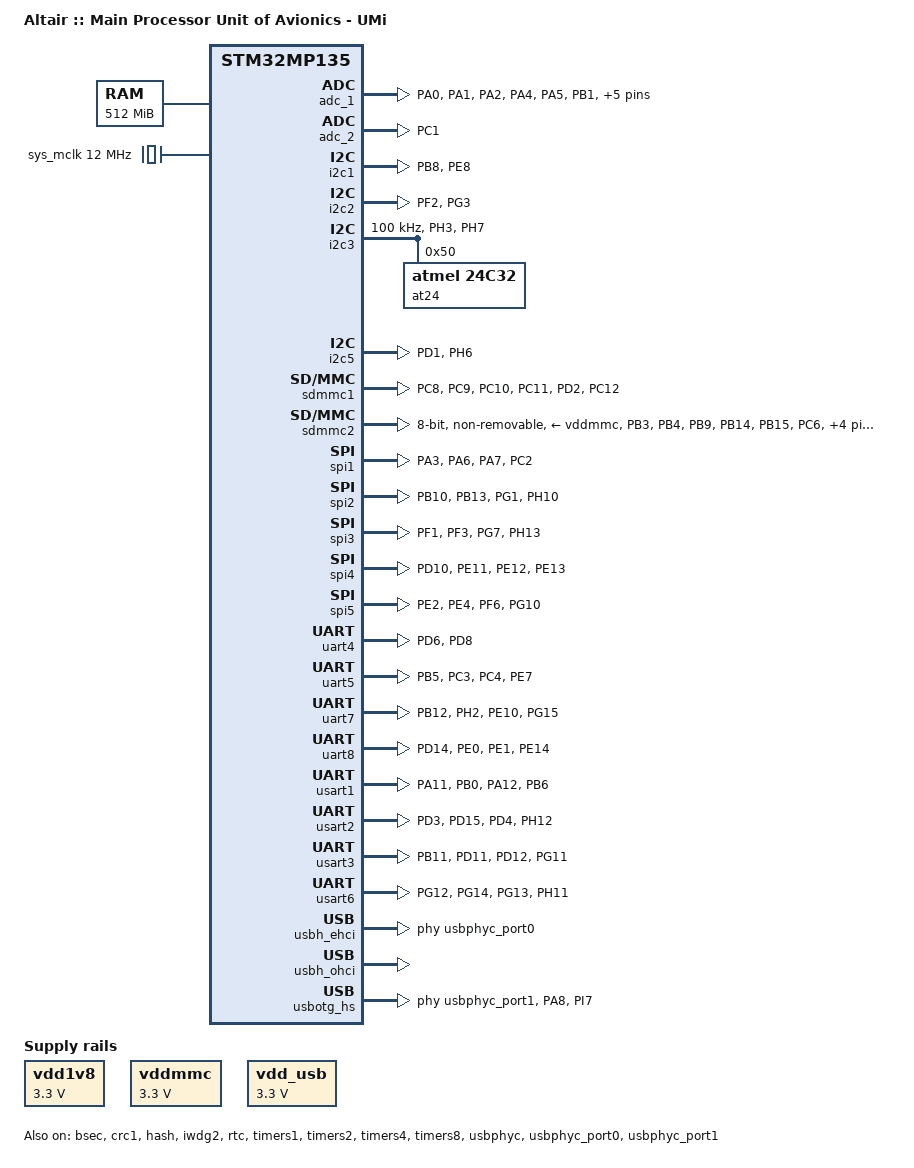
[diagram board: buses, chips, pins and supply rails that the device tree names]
// SPDX-License-Identifier: (GPL-2.0-or-later OR BSD-3-Clause)
/*
 * Copyright (C) 2024, STMicroelectronics - All Rights Reserved
 * Author: STM32CubeMX code generation for STMicroelectronics.
 */

/* For more information on Device Tree configuration, please refer to
 * https://wiki.st.com/stm32mpu/wiki/Category:Device_tree_configuration
 */

/dts-v1/;
#include <dt-bindings/pinctrl/stm32-pinfunc.h>

#include "stm32mp135.dtsi"
#include "stm32mp13xd.dtsi"

/* USER CODE BEGIN includes */
/* USER CODE END includes */

/ {
	model = "Altair :: Main Processor Unit of Avionics - UMi";
	compatible = "st,stm32mp135d-altair-mx", "st,stm32mp135";

	memory@c0000000 {
		device_type = "memory";
		reg = <0xc0000000 0x20000000>;

		/* USER CODE BEGIN memory */
		/* USER CODE END memory */
	};

	reserved-memory {
		#address-cells = <1>;
		#size-cells = <1>;
		ranges;

		/* USER CODE BEGIN reserved-memory */
		optee_framebuffer@dd000000 {
			reg = <0xdd000000 0x1000000>;
			no-map;
		};

		optee@de000000 {
			reg = <0xde000000 0x2000000>;
			no-map;
		};
		/* USER CODE END reserved-memory */
	};

	/* USER CODE BEGIN root */
	aliases {
		serial0 = &uart4;
		serial1 = &uart5;
		serial2 = &uart7;
		serial3 = &uart8;
		serial4 = &usart1;
		serial5 = &usart2;
		serial6 = &usart3;
		ethernet0 = &eth1;
	};

	chosen {
		#address-cells = <1>;
		#size-cells = <1>;
		ranges;
		stdout-path = "serial0:115200n8";
	};

	vdd1v8: vdd1v8 {
		compatible = "regulator-fixed";
		regulator-name = "vdd1v8";
		regulator-min-microvolt = <3300000>;
		regulator-max-microvolt = <3300000>;
	};

	vddmmc: fixedregulator@0 {
		compatible = "regulator-fixed";
		regulator-name = "vddmmc";
		regulator-min-microvolt = <3300000>;
		regulator-max-microvolt = <3300000>;
	};

	vdd_usb: vdd_usb {
		compatible = "regulator-fixed";
		regulator-name = "vdd_usb";
		regulator-min-microvolt = <3300000>;
		regulator-max-microvolt = <3300000>;
		regulator-always-on;
	};

	sys_mclk: clock-mclk {
		compatible = "fixed-clock";
		#clock-cells = <0>;
		clock-frequency = <12000000>;
	};
	/* USER CODE END root */

	clocks{

		/* USER CODE BEGIN clocks */
		/* USER CODE END clocks */
	};

}; /*root*/

&pinctrl {

	adc1_pins_mx: adc1_mx-0 {
		pins {
			pinmux = <STM32_PINMUX('A', 0, ANALOG)>, /* ADC1_INP7 */
					 <STM32_PINMUX('A', 1, ANALOG)>, /* ADC1_INP3 */
					 <STM32_PINMUX('A', 2, ANALOG)>, /* ADC1_INP1 */
					 <STM32_PINMUX('A', 4, ANALOG)>, /* ADC1_INP14 */
					 <STM32_PINMUX('A', 5, ANALOG)>, /* ADC1_INP2 */
					 <STM32_PINMUX('B', 1, ANALOG)>, /* ADC1_INP5 */
					 <STM32_PINMUX('C', 0, ANALOG)>, /* ADC1_INP0 */
					 <STM32_PINMUX('C', 5, ANALOG)>, /* ADC1_INP10 */
					 <STM32_PINMUX('F', 11, ANALOG)>, /* ADC1_INP8 */
					 <STM32_PINMUX('F', 12, ANALOG)>, /* ADC1_INP6 */
					 <STM32_PINMUX('F', 13, ANALOG)>; /* ADC1_INP11 */
		};
	};

	adc1_sleep_pins_mx: adc1_sleep_mx-0 {
		pins {
			pinmux = <STM32_PINMUX('A', 0, ANALOG)>, /* ADC1_INP7 */
					 <STM32_PINMUX('A', 1, ANALOG)>, /* ADC1_INP3 */
					 <STM32_PINMUX('A', 2, ANALOG)>, /* ADC1_INP1 */
					 <STM32_PINMUX('A', 4, ANALOG)>, /* ADC1_INP14 */
					 <STM32_PINMUX('A', 5, ANALOG)>, /* ADC1_INP2 */
					 <STM32_PINMUX('B', 1, ANALOG)>, /* ADC1_INP5 */
					 <STM32_PINMUX('C', 0, ANALOG)>, /* ADC1_INP0 */
					 <STM32_PINMUX('C', 5, ANALOG)>, /* ADC1_INP10 */
					 <STM32_PINMUX('F', 11, ANALOG)>, /* ADC1_INP8 */
					 <STM32_PINMUX('F', 12, ANALOG)>, /* ADC1_INP6 */
					 <STM32_PINMUX('F', 13, ANALOG)>; /* ADC1_INP11 */
		};
	};

	adc2_pins_mx: adc2_mx-0 {
		pins {
			pinmux = <STM32_PINMUX('C', 1, ANALOG)>; /* ADC2_INP2 */
		};
	};

	adc2_sleep_pins_mx: adc2_sleep_mx-0 {
		pins {
			pinmux = <STM32_PINMUX('C', 1, ANALOG)>; /* ADC2_INP2 */
		};
	};

	i2c1_pins_mx: i2c1_mx-0 {
		pins {
			pinmux = <STM32_PINMUX('B', 8, AF4)>, /* I2C1_SCL */
					 <STM32_PINMUX('E', 8, AF5)>; /* I2C1_SDA */
			bias-pull-up;
			drive-open-drain;
			slew-rate = <0>;
		};
	};

	i2c1_sleep_pins_mx: i2c1_sleep_mx-0 {
		pins {
			pinmux = <STM32_PINMUX('B', 8, ANALOG)>, /* I2C1_SCL */
					 <STM32_PINMUX('E', 8, ANALOG)>; /* I2C1_SDA */
		};
	};

	i2c2_pins_mx: i2c2_mx-0 {
		pins {
			pinmux = <STM32_PINMUX('F', 2, AF4)>, /* I2C2_SCL */
					 <STM32_PINMUX('G', 3, AF4)>; /* I2C2_SDA */
			bias-pull-up;
			drive-open-drain;
			slew-rate = <0>;
		};
	};

	i2c2_sleep_pins_mx: i2c2_sleep_mx-0 {
		pins {
			pinmux = <STM32_PINMUX('F', 2, ANALOG)>, /* I2C2_SCL */
					 <STM32_PINMUX('G', 3, ANALOG)>; /* I2C2_SDA */
		};
	};

	i2c3_pins_mx: i2c3_mx-0 {
		pins {
			pinmux = <STM32_PINMUX('H', 3, AF4)>, /* I2C3_SCL */
					 <STM32_PINMUX('H', 7, AF5)>; /* I2C3_SDA */
			bias-pull-up;
			drive-open-drain;
			slew-rate = <0>;
		};
	};

	i2c3_sleep_pins_mx: i2c3_sleep_mx-0 {
		pins {
			pinmux = <STM32_PINMUX('H', 3, ANALOG)>, /* I2C3_SCL */
					 <STM32_PINMUX('H', 7, ANALOG)>; /* I2C3_SDA */
		};
	};

	i2c5_pins_mx: i2c5_mx-0 {
		pins {
			pinmux = <STM32_PINMUX('D', 1, AF4)>, /* I2C5_SCL */
					 <STM32_PINMUX('H', 6, AF4)>; /* I2C5_SDA */
			bias-pull-up;
			drive-open-drain;
			slew-rate = <0>;
		};
	};

	i2c5_sleep_pins_mx: i2c5_sleep_mx-0 {
		pins {
			pinmux = <STM32_PINMUX('D', 1, ANALOG)>, /* I2C5_SCL */
					 <STM32_PINMUX('H', 6, ANALOG)>; /* I2C5_SDA */
		};
	};

	sdmmc1_pins_mx: sdmmc1_mx-0 {
		pins1 {
			pinmux = <STM32_PINMUX('C', 8, AF12)>, /* SDMMC1_D0 */
					 <STM32_PINMUX('C', 9, AF12)>, /* SDMMC1_D1 */
					 <STM32_PINMUX('C', 10, AF12)>, /* SDMMC1_D2 */
					 <STM32_PINMUX('C', 11, AF12)>, /* SDMMC1_D3 */
					 <STM32_PINMUX('D', 2, AF12)>; /* SDMMC1_CMD */
			bias-disable;
			drive-push-pull;
			slew-rate = <1>;
		};
		pins2 {
			pinmux = <STM32_PINMUX('C', 12, AF12)>; /* SDMMC1_CK */
			bias-disable;
			drive-push-pull;
			slew-rate = <3>;
		};
	};

	sdmmc1_opendrain_pins_mx: sdmmc1_opendrain_mx-0 {
		pins1 {
			pinmux = <STM32_PINMUX('C', 8, AF12)>, /* SDMMC1_D0 */
					 <STM32_PINMUX('C', 9, AF12)>, /* SDMMC1_D1 */
					 <STM32_PINMUX('C', 10, AF12)>, /* SDMMC1_D2 */
					 <STM32_PINMUX('C', 11, AF12)>; /* SDMMC1_D3 */
			bias-disable;
			drive-push-pull;
			slew-rate = <1>;
		};
		pins2 {
			pinmux = <STM32_PINMUX('C', 12, AF12)>; /* SDMMC1_CK */
			bias-disable;
			drive-push-pull;
			slew-rate = <3>;
		};
		pins3 {
			pinmux = <STM32_PINMUX('D', 2, AF12)>; /* SDMMC1_CMD */
			bias-disable;
			drive-open-drain;
			slew-rate = <1>;
		};
	};

	sdmmc1_sleep_pins_mx: sdmmc1_sleep_mx-0 {
		pins {
			pinmux = <STM32_PINMUX('C', 8, ANALOG)>, /* SDMMC1_D0 */
					 <STM32_PINMUX('C', 9, ANALOG)>, /* SDMMC1_D1 */
					 <STM32_PINMUX('C', 10, ANALOG)>, /* SDMMC1_D2 */
					 <STM32_PINMUX('C', 11, ANALOG)>, /* SDMMC1_D3 */
					 <STM32_PINMUX('C', 12, ANALOG)>, /* SDMMC1_CK */
					 <STM32_PINMUX('D', 2, ANALOG)>; /* SDMMC1_CMD */
		};
	};

	sdmmc2_pins_mx: sdmmc2_mx-0 {
		pins1 {
			pinmux = <STM32_PINMUX('B', 3, AF10)>, /* SDMMC2_D2 */
					 <STM32_PINMUX('B', 4, AF10)>, /* SDMMC2_D3 */
					 <STM32_PINMUX('B', 9, AF10)>, /* SDMMC2_D5 */
					 <STM32_PINMUX('B', 14, AF10)>, /* SDMMC2_D0 */
					 <STM32_PINMUX('B', 15, AF10)>, /* SDMMC2_D1 */
					 <STM32_PINMUX('C', 6, AF10)>, /* SDMMC2_D6 */
					 <STM32_PINMUX('C', 7, AF10)>, /* SDMMC2_D7 */
					 <STM32_PINMUX('F', 0, AF10)>, /* SDMMC2_D4 */
					 <STM32_PINMUX('G', 6, AF10)>; /* SDMMC2_CMD */
			bias-pull-up;
			drive-push-pull;
			slew-rate = <1>;
		};
		pins2 {
			pinmux = <STM32_PINMUX('E', 3, AF10)>; /* SDMMC2_CK */
			bias-pull-up;
			drive-push-pull;
			slew-rate = <3>;
		};
	};

	sdmmc2_opendrain_pins_mx: sdmmc2_opendrain_mx-0 {
		pins1 {
			pinmux = <STM32_PINMUX('B', 3, AF10)>, /* SDMMC2_D2 */
					 <STM32_PINMUX('B', 4, AF10)>, /* SDMMC2_D3 */
					 <STM32_PINMUX('B', 9, AF10)>, /* SDMMC2_D5 */
					 <STM32_PINMUX('B', 14, AF10)>, /* SDMMC2_D0 */
					 <STM32_PINMUX('B', 15, AF10)>, /* SDMMC2_D1 */
					 <STM32_PINMUX('C', 6, AF10)>, /* SDMMC2_D6 */
					 <STM32_PINMUX('C', 7, AF10)>, /* SDMMC2_D7 */
					 <STM32_PINMUX('F', 0, AF10)>; /* SDMMC2_D4 */
			bias-pull-up;
			drive-push-pull;
			slew-rate = <1>;
		};
		pins2 {
			pinmux = <STM32_PINMUX('E', 3, AF10)>; /* SDMMC2_CK */
			bias-pull-up;
			drive-push-pull;
			slew-rate = <3>;
		};
		pins3 {
			pinmux = <STM32_PINMUX('G', 6, AF10)>; /* SDMMC2_CMD */
			bias-pull-up;
			drive-open-drain;
			slew-rate = <1>;
		};
	};

	sdmmc2_sleep_pins_mx: sdmmc2_sleep_mx-0 {
		pins {
			pinmux = <STM32_PINMUX('B', 3, ANALOG)>, /* SDMMC2_D2 */
					 <STM32_PINMUX('B', 4, ANALOG)>, /* SDMMC2_D3 */
					 <STM32_PINMUX('B', 9, ANALOG)>, /* SDMMC2_D5 */
					 <STM32_PINMUX('B', 14, ANALOG)>, /* SDMMC2_D0 */
					 <STM32_PINMUX('B', 15, ANALOG)>, /* SDMMC2_D1 */
					 <STM32_PINMUX('C', 6, ANALOG)>, /* SDMMC2_D6 */
					 <STM32_PINMUX('C', 7, ANALOG)>, /* SDMMC2_D7 */
					 <STM32_PINMUX('E', 3, ANALOG)>, /* SDMMC2_CK */
					 <STM32_PINMUX('F', 0, ANALOG)>, /* SDMMC2_D4 */
					 <STM32_PINMUX('G', 6, ANALOG)>; /* SDMMC2_CMD */
		};
	};

	spi1_pins_mx: spi1_mx-0 {
		pins {
			pinmux = <STM32_PINMUX('A', 3, AF5)>, /* SPI1_MOSI */
					 <STM32_PINMUX('A', 6, AF5)>, /* SPI1_MISO */
					 <STM32_PINMUX('A', 7, AF5)>, /* SPI1_SCK */
					 <STM32_PINMUX('C', 2, AF5)>; /* SPI1_NSS */
			bias-disable;
			drive-push-pull;
			slew-rate = <1>;
		};
	};

	spi1_sleep_pins_mx: spi1_sleep_mx-0 {
		pins {
			pinmux = <STM32_PINMUX('A', 3, ANALOG)>, /* SPI1_MOSI */
					 <STM32_PINMUX('A', 6, ANALOG)>, /* SPI1_MISO */
					 <STM32_PINMUX('A', 7, ANALOG)>, /* SPI1_SCK */
					 <STM32_PINMUX('C', 2, ANALOG)>; /* SPI1_NSS */
		};
	};

	spi2_pins_mx: spi2_mx-0 {
		pins {
			pinmux = <STM32_PINMUX('B', 10, AF6)>, /* SPI2_SCK */
					 <STM32_PINMUX('B', 13, AF5)>, /* SPI2_NSS */
					 <STM32_PINMUX('G', 1, AF5)>, /* SPI2_MISO */
					 <STM32_PINMUX('H', 10, AF6)>; /* SPI2_MOSI */
			bias-disable;
			drive-push-pull;
			slew-rate = <1>;
		};
	};

	spi2_sleep_pins_mx: spi2_sleep_mx-0 {
		pins {
			pinmux = <STM32_PINMUX('B', 10, ANALOG)>, /* SPI2_SCK */
					 <STM32_PINMUX('B', 13, ANALOG)>, /* SPI2_NSS */
					 <STM32_PINMUX('G', 1, ANALOG)>, /* SPI2_MISO */
					 <STM32_PINMUX('H', 10, ANALOG)>; /* SPI2_MOSI */
		};
	};

	spi3_pins_mx: spi3_mx-0 {
		pins {
			pinmux = <STM32_PINMUX('F', 1, AF5)>, /* SPI3_MOSI */
					 <STM32_PINMUX('F', 3, AF6)>, /* SPI3_NSS */
					 <STM32_PINMUX('G', 7, AF5)>, /* SPI3_MISO */
					 <STM32_PINMUX('H', 13, AF6)>; /* SPI3_SCK */
			bias-disable;
			drive-push-pull;
			slew-rate = <1>;
		};
	};

	spi3_sleep_pins_mx: spi3_sleep_mx-0 {
		pins {
			pinmux = <STM32_PINMUX('F', 1, ANALOG)>, /* SPI3_MOSI */
					 <STM32_PINMUX('F', 3, ANALOG)>, /* SPI3_NSS */
					 <STM32_PINMUX('G', 7, ANALOG)>, /* SPI3_MISO */
					 <STM32_PINMUX('H', 13, ANALOG)>; /* SPI3_SCK */
		};
	};

	spi4_pins_mx: spi4_mx-0 {
		pins {
			pinmux = <STM32_PINMUX('D', 10, AF5)>, /* SPI4_NSS */
					 <STM32_PINMUX('E', 11, AF5)>, /* SPI4_MOSI */
					 <STM32_PINMUX('E', 12, AF5)>, /* SPI4_SCK */
					 <STM32_PINMUX('E', 13, AF5)>; /* SPI4_MISO */
			bias-disable;
			drive-push-pull;
			slew-rate = <1>;
		};
	};

	spi4_sleep_pins_mx: spi4_sleep_mx-0 {
		pins {
			pinmux = <STM32_PINMUX('D', 10, ANALOG)>, /* SPI4_NSS */
					 <STM32_PINMUX('E', 11, ANALOG)>, /* SPI4_MOSI */
					 <STM32_PINMUX('E', 12, ANALOG)>, /* SPI4_SCK */
					 <STM32_PINMUX('E', 13, ANALOG)>; /* SPI4_MISO */
		};
	};

	spi5_pins_mx: spi5_mx-0 {
		pins {
			pinmux = <STM32_PINMUX('E', 2, AF5)>, /* SPI5_MOSI */
					 <STM32_PINMUX('E', 4, AF1)>, /* SPI5_MISO */
					 <STM32_PINMUX('F', 6, AF5)>, /* SPI5_NSS */
					 <STM32_PINMUX('G', 10, AF5)>; /* SPI5_SCK */
			bias-disable;
			drive-push-pull;
			slew-rate = <1>;
		};
	};

	spi5_sleep_pins_mx: spi5_sleep_mx-0 {
		pins {
			pinmux = <STM32_PINMUX('E', 2, ANALOG)>, /* SPI5_MOSI */
					 <STM32_PINMUX('E', 4, ANALOG)>, /* SPI5_MISO */
					 <STM32_PINMUX('F', 6, ANALOG)>, /* SPI5_NSS */
					 <STM32_PINMUX('G', 10, ANALOG)>; /* SPI5_SCK */
		};
	};

	tim1_pins_mx: tim1_mx-0 {
		pins {
			pinmux = <STM32_PINMUX('A', 9, AF1)>, /* TIM1_CH2 */
					 <STM32_PINMUX('E', 9, AF1)>; /* TIM1_CH1 */
			bias-disable;
			drive-push-pull;
			slew-rate = <0>;
		};
	};

	tim1_sleep_pins_mx: tim1_sleep_mx-0 {
		pins {
			pinmux = <STM32_PINMUX('A', 9, ANALOG)>, /* TIM1_CH2 */
					 <STM32_PINMUX('E', 9, ANALOG)>; /* TIM1_CH1 */
		};
	};

	tim2_pins_mx: tim2_mx-0 {
		pins {
			pinmux = <STM32_PINMUX('E', 15, AF1)>; /* TIM2_CH1 */
			bias-disable;
			drive-push-pull;
			slew-rate = <0>;
		};
	};

	tim2_sleep_pins_mx: tim2_sleep_mx-0 {
		pins {
			pinmux = <STM32_PINMUX('E', 15, ANALOG)>; /* TIM2_CH1 */
		};
	};

	tim4_pins_mx: tim4_mx-0 {
		pins {
			pinmux = <STM32_PINMUX('B', 7, AF2)>; /* TIM4_CH2 */
			bias-disable;
			drive-push-pull;
			slew-rate = <0>;
		};
	};

	tim4_sleep_pins_mx: tim4_sleep_mx-0 {
		pins {
			pinmux = <STM32_PINMUX('B', 7, ANALOG)>; /* TIM4_CH2 */
		};
	};

	tim8_pins_mx: tim8_mx-0 {
		pins {
			pinmux = <STM32_PINMUX('E', 5, AF3)>; /* TIM8_CH3 */
			bias-disable;
			drive-push-pull;
			slew-rate = <0>;
		};
	};

	tim8_sleep_pins_mx: tim8_sleep_mx-0 {
		pins {
			pinmux = <STM32_PINMUX('E', 5, ANALOG)>; /* TIM8_CH3 */
		};
	};

	uart4_pins_mx: uart4_mx-0 {
		pins1 {
			pinmux = <STM32_PINMUX('D', 6, AF8)>; /* UART4_TX */
			bias-disable;
			drive-push-pull;
			slew-rate = <0>;
		};
		pins2 {
			pinmux = <STM32_PINMUX('D', 8, AF8)>; /* UART4_RX */
			bias-disable;
		};
	};

	uart4_sleep_pins_mx: uart4_sleep_mx-0 {
		pins {
			pinmux = <STM32_PINMUX('D', 6, ANALOG)>, /* UART4_TX */
					 <STM32_PINMUX('D', 8, ANALOG)>; /* UART4_RX */
		};
	};

	uart5_pins_mx: uart5_mx-0 {
		pins1 {
			pinmux = <STM32_PINMUX('B', 5, AF11)>, /* UART5_RX */
					 <STM32_PINMUX('C', 3, AF8)>; /* UART5_CTS */
			bias-disable;
		};
		pins2 {
			pinmux = <STM32_PINMUX('C', 4, AF8)>, /* UART5_RTS */
					 <STM32_PINMUX('E', 7, AF8)>; /* UART5_TX */
			bias-disable;
			drive-push-pull;
			slew-rate = <0>;
		};
	};

	uart5_sleep_pins_mx: uart5_sleep_mx-0 {
		pins {
			pinmux = <STM32_PINMUX('B', 5, ANALOG)>, /* UART5_RX */
					 <STM32_PINMUX('C', 3, ANALOG)>, /* UART5_CTS */
					 <STM32_PINMUX('C', 4, ANALOG)>, /* UART5_RTS */
					 <STM32_PINMUX('E', 7, ANALOG)>; /* UART5_TX */
		};
	};

	uart7_pins_mx: uart7_mx-0 {
		pins1 {
			pinmux = <STM32_PINMUX('B', 12, AF7)>, /* UART7_RTS */
					 <STM32_PINMUX('H', 2, AF8)>; /* UART7_TX */
			bias-disable;
			drive-push-pull;
			slew-rate = <0>;
		};
		pins2 {
			pinmux = <STM32_PINMUX('E', 10, AF7)>, /* UART7_RX */
					 <STM32_PINMUX('G', 15, AF8)>; /* UART7_CTS */
			bias-disable;
		};
	};

	uart7_sleep_pins_mx: uart7_sleep_mx-0 {
		pins {
			pinmux = <STM32_PINMUX('B', 12, ANALOG)>, /* UART7_RTS */
					 <STM32_PINMUX('E', 10, ANALOG)>, /* UART7_RX */
					 <STM32_PINMUX('G', 15, ANALOG)>, /* UART7_CTS */
					 <STM32_PINMUX('H', 2, ANALOG)>; /* UART7_TX */
		};
	};

	uart8_pins_mx: uart8_mx-0 {
		pins1 {
			pinmux = <STM32_PINMUX('D', 14, AF8)>, /* UART8_CTS */
					 <STM32_PINMUX('E', 0, AF8)>; /* UART8_RX */
			bias-disable;
		};
		pins2 {
			pinmux = <STM32_PINMUX('E', 1, AF8)>, /* UART8_TX */
					 <STM32_PINMUX('E', 14, AF8)>; /* UART8_RTS */
			bias-disable;
			drive-push-pull;
			slew-rate = <0>;
		};
	};

	uart8_sleep_pins_mx: uart8_sleep_mx-0 {
		pins {
			pinmux = <STM32_PINMUX('D', 14, ANALOG)>, /* UART8_CTS */
					 <STM32_PINMUX('E', 0, ANALOG)>, /* UART8_RX */
					 <STM32_PINMUX('E', 1, ANALOG)>, /* UART8_TX */
					 <STM32_PINMUX('E', 14, ANALOG)>; /* UART8_RTS */
		};
	};

	usart1_pins_mx: usart1_mx-0 {
		pins1 {
			pinmux = <STM32_PINMUX('A', 11, AF7)>, /* USART1_CTS */
					 <STM32_PINMUX('B', 0, AF4)>; /* USART1_RX */
			bias-disable;
		};
		pins2 {
			pinmux = <STM32_PINMUX('A', 12, AF7)>, /* USART1_RTS */
					 <STM32_PINMUX('B', 6, AF4)>; /* USART1_TX */
			bias-disable;
			drive-push-pull;
			slew-rate = <0>;
		};
	};

	usart1_sleep_pins_mx: usart1_sleep_mx-0 {
		pins {
			pinmux = <STM32_PINMUX('A', 11, ANALOG)>, /* USART1_CTS */
					 <STM32_PINMUX('A', 12, ANALOG)>, /* USART1_RTS */
					 <STM32_PINMUX('B', 0, ANALOG)>, /* USART1_RX */
					 <STM32_PINMUX('B', 6, ANALOG)>; /* USART1_TX */
		};
	};

	usart2_pins_mx: usart2_mx-0 {
		pins1 {
			pinmux = <STM32_PINMUX('D', 3, AF3)>, /* USART2_CTS */
					 <STM32_PINMUX('D', 15, AF1)>; /* USART2_RX */
			bias-disable;
		};
		pins2 {
			pinmux = <STM32_PINMUX('D', 4, AF3)>, /* USART2_RTS */
					 <STM32_PINMUX('H', 12, AF1)>; /* USART2_TX */
			bias-disable;
			drive-push-pull;
			slew-rate = <0>;
		};
	};

	usart2_sleep_pins_mx: usart2_sleep_mx-0 {
		pins {
			pinmux = <STM32_PINMUX('D', 3, ANALOG)>, /* USART2_CTS */
					 <STM32_PINMUX('D', 4, ANALOG)>, /* USART2_RTS */
					 <STM32_PINMUX('D', 15, ANALOG)>, /* USART2_RX */
					 <STM32_PINMUX('H', 12, ANALOG)>; /* USART2_TX */
		};
	};

	usart3_pins_mx: usart3_mx-0 {
		pins1 {
			pinmux = <STM32_PINMUX('B', 11, AF7)>, /* USART3_RX */
					 <STM32_PINMUX('D', 11, AF7)>; /* USART3_CTS */
			bias-disable;
		};
		pins2 {
			pinmux = <STM32_PINMUX('D', 12, AF7)>, /* USART3_RTS */
					 <STM32_PINMUX('G', 11, AF7)>; /* USART3_TX */
			bias-disable;
			drive-push-pull;
			slew-rate = <0>;
		};
	};

	usart3_sleep_pins_mx: usart3_sleep_mx-0 {
		pins {
			pinmux = <STM32_PINMUX('B', 11, ANALOG)>, /* USART3_RX */
					 <STM32_PINMUX('D', 11, ANALOG)>, /* USART3_CTS */
					 <STM32_PINMUX('D', 12, ANALOG)>, /* USART3_RTS */
					 <STM32_PINMUX('G', 11, ANALOG)>; /* USART3_TX */
		};
	};

	usart6_pins_mx: usart6_mx-0 {
		pins1 {
			pinmux = <STM32_PINMUX('G', 12, AF7)>, /* USART6_RTS */
					 <STM32_PINMUX('G', 14, AF7)>; /* USART6_TX */
			bias-disable;
			drive-push-pull;
			slew-rate = <0>;
		};
		pins2 {
			pinmux = <STM32_PINMUX('G', 13, AF7)>, /* USART6_CTS */
					 <STM32_PINMUX('H', 11, AF7)>; /* USART6_RX */
			bias-disable;
		};
	};

	usart6_sleep_pins_mx: usart6_sleep_mx-0 {
		pins {
			pinmux = <STM32_PINMUX('G', 12, ANALOG)>, /* USART6_RTS */
					 <STM32_PINMUX('G', 13, ANALOG)>, /* USART6_CTS */
					 <STM32_PINMUX('G', 14, ANALOG)>, /* USART6_TX */
					 <STM32_PINMUX('H', 11, ANALOG)>; /* USART6_RX */
		};
	};

	usb_otg_hs_pins_mx: usb_otg_hs_mx-0 {
		pins1 {
			pinmux = <STM32_PINMUX('A', 8, AF10)>; /* USB_OTG_HS_SOF */
			bias-disable;
			drive-push-pull;
			slew-rate = <0>;
		};
		pins2 {
			pinmux = <STM32_PINMUX('I', 7, ANALOG)>; /* USB_OTG_HS_VBUS */
		};
	};

	usb_otg_hs_sleep_pins_mx: usb_otg_hs_sleep_mx-0 {
		pins {
			pinmux = <STM32_PINMUX('A', 8, ANALOG)>, /* USB_OTG_HS_SOF */
					 <STM32_PINMUX('I', 7, ANALOG)>; /* USB_OTG_HS_VBUS */
		};
	};

	/* USER CODE BEGIN pinctrl */
	/* USER CODE END pinctrl */
};

&adc_1{
	pinctrl-names = "default", "sleep";
	pinctrl-0 = <&adc1_pins_mx>;
	pinctrl-1 = <&adc1_sleep_pins_mx>;
	status = "okay";

	/* USER CODE BEGIN adc_1 */
	/* USER CODE END adc_1 */
};

&adc_2{
	pinctrl-names = "default", "sleep";
	pinctrl-0 = <&adc2_pins_mx>;
	pinctrl-1 = <&adc2_sleep_pins_mx>;
	status = "okay";

	/* USER CODE BEGIN adc_2 */
	/* USER CODE END adc_2 */
};

&bsec{
	status = "okay";

	/* USER CODE BEGIN bsec */
	/* USER CODE END bsec */
};

&crc1{
	status = "okay";

	/* USER CODE BEGIN crc1 */
	/* USER CODE END crc1 */
};

&dmamux1{
	status = "okay";

	/* !!! log : Warning - No dma master found  !!! */

	/* USER CODE BEGIN dmamux1 */
	/* USER CODE END dmamux1 */
};

&hash{
	status = "okay";

	/* USER CODE BEGIN hash */
	/* USER CODE END hash */
};

&i2c1{
	pinctrl-names = "default", "sleep";
	pinctrl-0 = <&i2c1_pins_mx>;
	pinctrl-1 = <&i2c1_sleep_pins_mx>;
	status = "okay";

	/* USER CODE BEGIN i2c1 */
	/delete-property/dmas;
	/delete-property/dma-names;
	/* USER CODE END i2c1 */
};

&i2c2{
	pinctrl-names = "default", "sleep";
	pinctrl-0 = <&i2c2_pins_mx>;
	pinctrl-1 = <&i2c2_sleep_pins_mx>;
	status = "okay";

	/* USER CODE BEGIN i2c2 */
	/delete-property/dmas;
	/delete-property/dma-names;
	/* USER CODE END i2c2 */
};

&i2c3{
	pinctrl-names = "default", "sleep";
	pinctrl-0 = <&i2c3_pins_mx>;
	pinctrl-1 = <&i2c3_sleep_pins_mx>;
	status = "okay";

	/* USER CODE BEGIN i2c3 */
	i2c-scl-rising-time-ns = <300>;
	i2c-scl-falling-time-ns = <300>;
	clock-frequency = <100000>;

	/delete-property/dmas;
	/delete-property/dma-names;

	at24@50 {
		compatible = "atmel,24c32";
		pagesize = <64>;
		reg = <0x50>;
	};
	/* USER CODE END i2c3 */
};

&i2c5{
	pinctrl-names = "default", "sleep";
	pinctrl-0 = <&i2c5_pins_mx>;
	pinctrl-1 = <&i2c5_sleep_pins_mx>;
	status = "okay";

	/* USER CODE BEGIN i2c5 */
	/delete-property/dmas;
	/delete-property/dma-names;
	/* USER CODE END i2c5 */
};

&iwdg2{
	status = "okay";

	/* USER CODE BEGIN iwdg2 */
	timeout-sec = <32>;
	/* USER CODE END iwdg2 */
};

&mdma{
	status = "okay";

	/* USER CODE BEGIN mdma */
	/* USER CODE END mdma */
};

&rcc{
	status = "okay";

	/* USER CODE BEGIN rcc */
	/* USER CODE END rcc */
};

&rtc{
	status = "okay";

	/* USER CODE BEGIN rtc */
	/* USER CODE END rtc */
};

&sdmmc1{
	pinctrl-names = "default", "opendrain", "sleep";
	pinctrl-0 = <&sdmmc1_pins_mx>;
	pinctrl-1 = <&sdmmc1_opendrain_pins_mx>;
	pinctrl-2 = <&sdmmc1_sleep_pins_mx>;
	status = "okay";

	/* USER CODE BEGIN sdmmc1 */
	/* USER CODE END sdmmc1 */
};

&sdmmc2{
	pinctrl-names = "default", "opendrain", "sleep";
	pinctrl-0 = <&sdmmc2_pins_mx>;
	pinctrl-1 = <&sdmmc2_opendrain_pins_mx>;
	pinctrl-2 = <&sdmmc2_sleep_pins_mx>;
	status = "okay";

	/* USER CODE BEGIN sdmmc2 */
	arm,primecell-periphid = <0x10153180>;
	non-removable;
	no-sd;
	no-sdio;
	st,neg-edge;
	bus-width = <8>;
	vmmc-supply = <&vddmmc>;
	vqmmc-supply = <&vdd1v8>;
	#address-cells = <1>;
	#size-cells = <0>;
	/* USER CODE END sdmmc2 */
};

&spi1{
	pinctrl-names = "default", "sleep";
	pinctrl-0 = <&spi1_pins_mx>;
	pinctrl-1 = <&spi1_sleep_pins_mx>;
	status = "okay";

	/* USER CODE BEGIN spi1 */
	/delete-property/dmas;
	/delete-property/dma-names;
	/* USER CODE END spi1 */
};

&spi2{
	pinctrl-names = "default", "sleep";
	pinctrl-0 = <&spi2_pins_mx>;
	pinctrl-1 = <&spi2_sleep_pins_mx>;
	status = "okay";

	/* USER CODE BEGIN spi2 */
	/delete-property/dmas;
	/delete-property/dma-names;
	/* USER CODE END spi2 */
};

&spi3{
	pinctrl-names = "default", "sleep";
	pinctrl-0 = <&spi3_pins_mx>;
	pinctrl-1 = <&spi3_sleep_pins_mx>;
	status = "okay";

	/* USER CODE BEGIN spi3 */
	/delete-property/dmas;
	/delete-property/dma-names;
	/* USER CODE END spi3 */
};

&spi4{
	pinctrl-names = "default", "sleep";
	pinctrl-0 = <&spi4_pins_mx>;
	pinctrl-1 = <&spi4_sleep_pins_mx>;
	status = "okay";

	/* USER CODE BEGIN spi4 */
	/delete-property/dmas;
	/delete-property/dma-names;
	/* USER CODE END spi4 */
};

&spi5{
	pinctrl-names = "default", "sleep";
	pinctrl-0 = <&spi5_pins_mx>;
	pinctrl-1 = <&spi5_sleep_pins_mx>;
	status = "okay";

	/* USER CODE BEGIN spi5 */
	/delete-property/dmas;
	/delete-property/dma-names;
	/* USER CODE END spi5 */
};

&timers1{
	pinctrl-names = "default", "sleep";
	pinctrl-0 = <&tim1_pins_mx>;
	pinctrl-1 = <&tim1_sleep_pins_mx>;
	status = "okay";

	/* USER CODE BEGIN timers1 */
	/* USER CODE END timers1 */
};

&timers2{
	pinctrl-names = "default", "sleep";
	pinctrl-0 = <&tim2_pins_mx>;
	pinctrl-1 = <&tim2_sleep_pins_mx>;
	status = "okay";

	/* USER CODE BEGIN timers2 */
	/* USER CODE END timers2 */
};

&timers4{
	pinctrl-names = "default", "sleep";
	pinctrl-0 = <&tim4_pins_mx>;
	pinctrl-1 = <&tim4_sleep_pins_mx>;
	status = "okay";

	/* USER CODE BEGIN timers4 */
	/* USER CODE END timers4 */
};

&timers8{
	pinctrl-names = "default", "sleep";
	pinctrl-0 = <&tim8_pins_mx>;
	pinctrl-1 = <&tim8_sleep_pins_mx>;
	status = "okay";

	/* USER CODE BEGIN timers8 */
	/* USER CODE END timers8 */
};

&uart4{
	pinctrl-names = "default", "sleep";
	pinctrl-0 = <&uart4_pins_mx>;
	pinctrl-1 = <&uart4_sleep_pins_mx>;
	status = "okay";

	/* USER CODE BEGIN uart4 */
	/delete-property/dmas;
	/delete-property/dma-names;
	/* USER CODE END uart4 */
};

&uart5{
	pinctrl-names = "default", "sleep";
	pinctrl-0 = <&uart5_pins_mx>;
	pinctrl-1 = <&uart5_sleep_pins_mx>;
	status = "okay";

	/* USER CODE BEGIN uart5 */
	/delete-property/dmas;
	/delete-property/dma-names;
	/* USER CODE END uart5 */
};

&uart7{
	pinctrl-names = "default", "sleep";
	pinctrl-0 = <&uart7_pins_mx>;
	pinctrl-1 = <&uart7_sleep_pins_mx>;
	status = "okay";

	/* USER CODE BEGIN uart7 */
	/delete-property/dmas;
	/delete-property/dma-names;
	/* USER CODE END uart7 */
};

&uart8{
	pinctrl-names = "default", "sleep";
	pinctrl-0 = <&uart8_pins_mx>;
	pinctrl-1 = <&uart8_sleep_pins_mx>;
	status = "okay";

	/* USER CODE BEGIN uart8 */
	/delete-property/dmas;
	/delete-property/dma-names;
	/* USER CODE END uart8 */
};

&usart1{
	pinctrl-names = "default", "sleep";
	pinctrl-0 = <&usart1_pins_mx>;
	pinctrl-1 = <&usart1_sleep_pins_mx>;
	status = "okay";

	/* USER CODE BEGIN usart1 */
	/delete-property/dmas;
	/delete-property/dma-names;
	/* USER CODE END usart1 */
};

&usart2{
	pinctrl-names = "default", "sleep";
	pinctrl-0 = <&usart2_pins_mx>;
	pinctrl-1 = <&usart2_sleep_pins_mx>;
	status = "okay";

	/* USER CODE BEGIN usart2 */
	/* USER CODE END usart2 */
};

&usart3{
	pinctrl-names = "default", "sleep";
	pinctrl-0 = <&usart3_pins_mx>;
	pinctrl-1 = <&usart3_sleep_pins_mx>;
	status = "okay";

	/* USER CODE BEGIN usart3 */
	/delete-property/dmas;
	/delete-property/dma-names;
	/* USER CODE END usart3 */
};

&usart6{
	pinctrl-names = "default", "sleep";
	pinctrl-0 = <&usart6_pins_mx>;
	pinctrl-1 = <&usart6_sleep_pins_mx>;
	status = "okay";

	/* USER CODE BEGIN usart6 */
	/delete-property/dmas;
	/delete-property/dma-names;
	/* USER CODE END usart6 */
};

&usbh_ehci{
	status = "okay";

	/* USER CODE BEGIN usbh_ehci */
	phys = <&usbphyc_port0>;
	/* USER CODE END usbh_ehci */
};

&usbh_ohci{
	status = "okay";

	/* USER CODE BEGIN usbh_ohci */
	/* USER CODE END usbh_ohci */
};

&usbotg_hs{
	pinctrl-names = "default", "sleep";
	pinctrl-0 = <&usb_otg_hs_pins_mx>;
	pinctrl-1 = <&usb_otg_hs_sleep_pins_mx>;
	status = "okay";

	/* USER CODE BEGIN usbotg_hs */
	phys = <&usbphyc_port1 0>;
	/* USER CODE END usbotg_hs */
};

&usbphyc{
	status = "okay";

	/* USER CODE BEGIN usbphyc */
	/* USER CODE END usbphyc */
};

&usbphyc_port0{
	status = "okay";

	/* USER CODE BEGIN usbphyc_port0 */
	phy-supply = <&vdd_usb>;
	/* USER CODE END usbphyc_port0 */
};

&usbphyc_port1{
	status = "okay";

	/* USER CODE BEGIN usbphyc_port1 */
	phy-supply = <&vdd_usb>;
	/* USER CODE END usbphyc_port1 */
};

/* USER CODE BEGIN addons */
&vdd_usb {
	u-boot,dm-pre-reloc;
};

&dma1 {
	sram = <&dma_pool>;
};

&dma2 {
	sram = <&dma_pool>;
};

&sram {
	dma_pool: dma-sram@0 {
		reg = <0x0 0x4000>;
		pool;
	};
};
/* USER CODE END addons */

